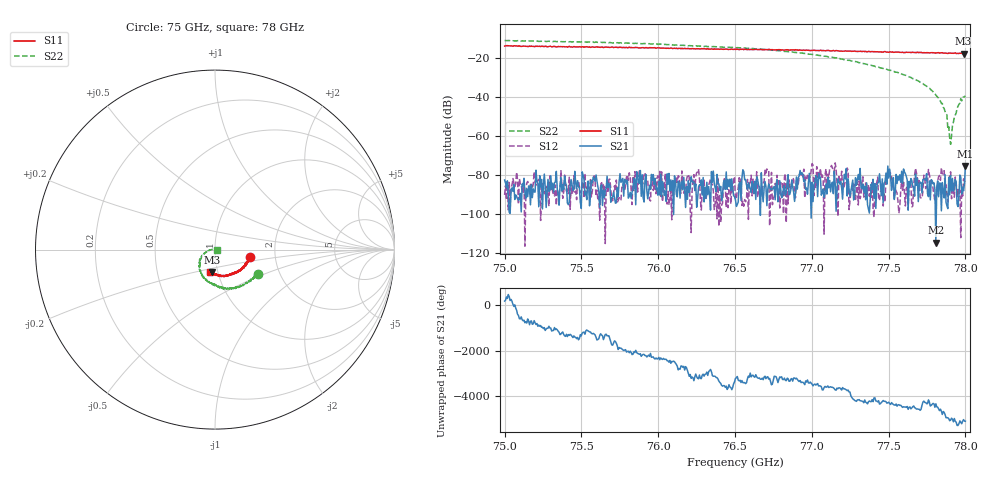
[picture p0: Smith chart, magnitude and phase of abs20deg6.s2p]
# Hz S MA R 50
! CMT, C4420, 21421029, 25.1.2/3
! Date: 8/7/2025 1:36:48 PM
! Data: Format (Calibration Info)
! Freq	S33:Mag/Ang(F2)	S43:Mag/Ang(F2)	S34:Mag/Ang(F2)	S44:Mag/Ang(F2)
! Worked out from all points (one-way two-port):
!   500 points, 75 GHz to 78 GHz, reference 50 ohm
!   highest |S21| = -75.58 dB at 78 GHz (marker M1); lowest = -114.9 dB at 77.808 GHz (marker M2)
!   lowest |S11| = -18.0 dB at 77.988 GHz (marker M3), VSWR 1.29, Z = 46.7 - j11.8 ohm
!   |S11| at or under -10 dB: start of sweep to end of sweep
!   |S22| runs from -64.4 to -11.2 dB; largest |S21 - S12| = 0.00019
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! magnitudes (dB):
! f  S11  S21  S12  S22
! 75 GHz  -14.1  -82.7  -90.4  -11.2
! 75.505 GHz  -14.4  -78.6  -85.2  -11.9
! 76.004 GHz  -15.1  -83.5  -89.1  -13.1
! 76.503 GHz  -15.8  -92.9  -92.7  -14.9
! 76.677 GHz  -15.9  -89.1  -89.4  -15.9
! 76.707 GHz  -15.9  -95.9  -77.1  -15.9
! 76.756 GHz  -16.0  -86.0  -91.5  -16.2
! 76.978 GHz  -16.2  -84.2  -82.4  -18.2
! 77.002 GHz  -16.4  -83.9  -74.3  -18.4
! 77.074 GHz  -16.4  -87.4  -83.1  -19.2
! 77.14 GHz  -16.3  -89.7  -78.3  -20.0
! 77.176 GHz  -16.6  -83.7  -80.3  -20.4
! 77.501 GHz  -17.3  -81.8  -81.4  -26.4
! 77.681 GHz  -17.4  -85.4  -79.2  -31.6
! 77.808 GHz  -17.7  -114.9  -90.2  -39.2
! 77.868 GHz  -17.7  -80.0  -85.9  -47.6
! 77.898 GHz  -17.7  -90.3  -81.1  -61.3
! 77.91 GHz  -17.8  -88.3  -92.3  -60.0
! 77.928 GHz  -17.8  -85.7  -91.5  -50.7
! 77.958 GHz  -17.9  -90.7  -90.5  -44.0
! 77.988 GHz  -18.0  -88.3  -82.1  -40.2
! 78 GHz  -17.8  -75.6  -84.9  -39.6
